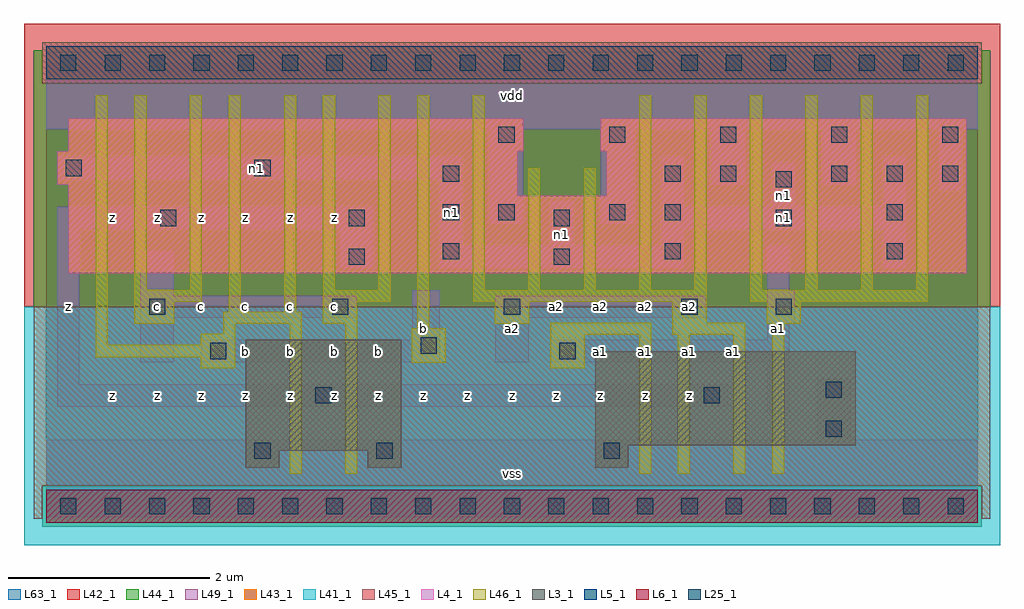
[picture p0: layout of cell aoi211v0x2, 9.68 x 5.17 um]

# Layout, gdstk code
import gdstk
lib = gdstk.Library(unit=1e-6, precision=1e-09)
def R(c, l, rs):  # rectangles x0, y0, x1, y1
    for r in rs: c.add(gdstk.rectangle(r[:2], r[2:], *l))
def A(c, l, x, y, w, h, nx, ny, dx, dy):  # array of equal rectangles
    R(c, l, [(x+i*dx, y+j*dy, x+i*dx+w, y+j*dy+h) for i in range(nx) for j in range(ny)])
L3_1 = (3, 1)
L4_1 = (4, 1)
L5_1 = (5, 1)
L6_1 = (6, 1)
L25_1 = (25, 1)
L41_1 = (41, 1)
L42_1 = (42, 1)
L43_1 = (43, 1)
L44_1 = (44, 1)
L45_1 = (45, 1)
L46_1 = (46, 1)
L49_1 = (49, 1)
L63_1 = (63, 1)

aoi211v0x2 = lib.new_cell('aoi211v0x2')
R(aoi211v0x2, L3_1, [(1.98,0.385,2.31,0.55), (3.19,0.385,3.52,0.55), (5.445,0.385,5.775,0.605), (1.98,0.55,3.52,1.65), (5.445,0.605,8.03,1.54)])
R(aoi211v0x2, L4_1, [(0.22,2.31,9.13,3.08), (0.22,3.08,4.675,3.19), (5.555,3.08,9.13,3.52), (0.11,3.19,4.675,3.52), (0.22,3.52,4.73,3.85), (5.5,3.52,9.13,3.85)])
R(aoi211v0x2, L5_1, [(0,4.235,9.24,4.565)])
R(aoi211v0x2, L6_1, [(0,-0.165,9.24,0.165)])
A(aoi211v0x2, L25_1, 0.14, -0.08, 0.16, 0.16, 21, 2, 0.44, 4.4)
A(aoi211v0x2, L25_1, 3.935, 2.45, 0.16, 0.16, 3, 1, 2.2, 0)
A(aoi211v0x2, L25_1, 7.785, 3.22, 0.16, 0.16, 3, 1, 0.55, 0)
A(aoi211v0x2, L25_1, 4.485, 3.605, 0.16, 0.16, 5, 1, 1.1, 0)
R(aoi211v0x2, L25_1, [(2.065,0.47,2.225,0.63), (3.275,0.47,3.435,0.63), (5.53,0.47,5.69,0.63), (7.73,0.69,7.89,0.85), (2.67,1.02,2.83,1.18), (6.52,1.02,6.68,1.18), (7.73,1.075,7.89,1.235), (1.625,1.46,1.785,1.62), (5.09,1.46,5.25,1.62), (3.715,1.515,3.875,1.675), (1.02,1.9,1.18,2.06), (2.835,1.9,2.995,2.06), (4.54,1.9,4.7,2.06), (6.3,1.9,6.46,2.06), (7.235,1.9,7.395,2.06), (3,2.395,3.16,2.555), (5.035,2.395,5.195,2.555), (1.13,2.78,1.29,2.94), (3,2.78,3.16,2.94), (5.035,2.78,5.195,2.94), (7.235,2.78,7.395,2.94), (3.935,2.835,4.095,2.995), (4.485,2.835,4.645,2.995), (5.585,2.835,5.745,2.995), (6.135,2.835,6.295,2.995), (8.335,2.835,8.495,2.995), (7.235,3.165,7.395,3.325), (3.935,3.22,4.095,3.38), (6.135,3.22,6.295,3.38), (6.685,3.22,6.845,3.38), (0.195,3.275,0.355,3.435), (2.065,3.275,2.225,3.435)])
R(aoi211v0x2, L41_1, [(-0.22,-0.385,9.46,1.98)])
R(aoi211v0x2, L42_1, [(-0.22,1.98,9.46,4.785)])
R(aoi211v0x2, L43_1, [(0,-0.165,9.24,0.165), (1.98,0.385,2.31,0.55), (3.19,0.385,3.52,0.55), (5.445,0.385,5.775,0.605), (1.98,0.55,3.52,1.65), (5.445,0.605,8.03,1.54), (0.22,2.31,9.13,3.08), (0.22,3.08,4.675,3.19), (5.555,3.08,9.13,3.52), (0.11,3.19,4.675,3.52), (0.22,3.52,4.73,3.85), (5.5,3.52,9.13,3.85), (0,4.235,9.24,4.565)])
R(aoi211v0x2, L44_1, [(-0.04,-0.205,9.28,0.205), (-0.125,1.98,9.365,4.195), (-0.125,4.195,-0.04,4.525), (9.28,4.195,9.365,4.525)])
R(aoi211v0x2, L45_1, [(-0.125,-0.125,-0.04,0.205), (9.28,-0.125,9.365,0.205), (-0.125,0.205,9.365,1.98), (-0.04,4.195,9.28,4.605)])
A(aoi211v0x2, L46_1, 5.88, 2.15, 0.12, 1.925, 6, 1, 0.55, 0)
R(aoi211v0x2, L46_1, [(2.415,0.325,2.535,1.81), (2.965,0.325,3.085,1.81), (5.88,0.325,6,1.7), (6.265,0.325,6.385,1.7), (6.815,0.325,6.935,1.7), (7.2,0.325,7.32,1.81), (1.535,1.37,1.875,1.48), (5,1.37,5.34,1.7), (3.625,1.425,3.965,1.765), (0.49,1.48,1.875,1.6), (0.49,1.6,0.61,4.075), (1.535,1.6,1.875,1.71), (5,1.7,6,1.82), (6.21,1.7,6.935,1.82), (1.755,1.71,1.875,1.81), (3.68,1.765,3.8,4.075), (0.875,1.81,1.27,2.03), (1.755,1.81,2.535,1.93), (2.745,1.81,3.085,2.03), (4.45,1.81,4.79,2.03), (7.145,1.81,7.485,2.03), (6.21,1.82,6.55,2.03), (1.81,1.93,1.93,4.075), (2.36,1.93,2.48,4.075), (0.875,2.03,1.545,2.15), (2.745,2.03,3.415,2.15), (4.23,2.03,6.55,2.15), (6.98,2.03,8.75,2.15), (0.875,2.15,0.995,4.075), (1.425,2.15,1.545,4.075), (2.745,2.15,2.865,4.075), (3.295,2.15,3.415,4.075), (4.23,2.15,4.35,4.075), (4.78,2.15,4.9,3.36), (5.33,2.15,5.45,3.36)])
R(aoi211v0x2, L49_1, [(0,-0.11,9.24,0.66), (7.645,0.66,7.975,1.265), (7.15,0.935,7.37,1.43), (0.11,0.99,6.765,1.21), (0.11,1.21,0.33,2.75), (0.935,1.43,1.265,1.87), (1.54,1.43,3.905,1.65), (4.455,1.43,4.785,1.87), (5.005,1.43,7.37,1.65), (3.63,1.65,3.905,2.145), (7.15,1.65,7.37,1.815), (7.15,1.815,7.425,2.145), (0.935,1.87,3.08,2.09), (4.455,1.87,6.545,2.09), (0.935,2.09,1.265,2.53), (7.15,2.145,7.37,2.585), (2.915,2.365,3.245,2.75), (3.905,2.365,6.325,2.585), (8.305,2.365,8.525,2.75), (3.905,2.585,4.125,3.245), (5.005,2.585,5.225,3.025), (6.105,2.585,6.325,2.75), (0.11,2.75,3.245,2.97), (6.105,2.75,8.525,2.97), (4.4,2.805,4.73,3.74), (5.5,2.805,5.83,3.74), (6.105,2.97,6.325,3.465), (7.205,2.97,7.425,3.41), (8.305,2.97,8.525,3.465), (8.855,3.135,9.075,3.74), (6.6,3.19,6.93,3.74), (7.7,3.19,8.03,3.74), (0.11,3.245,4.125,3.465), (0,3.74,9.24,4.51)])
R(aoi211v0x2, L63_1, [(0,0,9.24,4.4)])
aoi211v0x2.add(gdstk.Label('z', (1.1,1.1), layer=49, texttype=1))
aoi211v0x2.add(gdstk.Label('z', (0.66,1.1), layer=49, texttype=1))
aoi211v0x2.add(gdstk.Label('c', (1.1,1.98), layer=49, texttype=1))
aoi211v0x2.add(gdstk.Label('z', (0.22,1.98), layer=49, texttype=1))
aoi211v0x2.add(gdstk.Label('z', (0.66,2.86), layer=49, texttype=1))
aoi211v0x2.add(gdstk.Label('z', (1.1,2.86), layer=49, texttype=1))
aoi211v0x2.add(gdstk.Label('z', (1.54,1.1), layer=49, texttype=1))
aoi211v0x2.add(gdstk.Label('z', (2.86,1.1), layer=49, texttype=1))
aoi211v0x2.add(gdstk.Label('z', (2.42,1.1), layer=49, texttype=1))
aoi211v0x2.add(gdstk.Label('z', (1.98,1.1), layer=49, texttype=1))
aoi211v0x2.add(gdstk.Label('b', (1.98,1.54), layer=49, texttype=1))
aoi211v0x2.add(gdstk.Label('b', (2.42,1.54), layer=49, texttype=1))
aoi211v0x2.add(gdstk.Label('b', (2.86,1.54), layer=49, texttype=1))
aoi211v0x2.add(gdstk.Label('c', (1.54,1.98), layer=49, texttype=1))
aoi211v0x2.add(gdstk.Label('c', (2.86,1.98), layer=49, texttype=1))
aoi211v0x2.add(gdstk.Label('c', (2.42,1.98), layer=49, texttype=1))
aoi211v0x2.add(gdstk.Label('c', (1.98,1.98), layer=49, texttype=1))
aoi211v0x2.add(gdstk.Label('z', (1.54,2.86), layer=49, texttype=1))
aoi211v0x2.add(gdstk.Label('z', (1.98,2.86), layer=49, texttype=1))
aoi211v0x2.add(gdstk.Label('z', (2.42,2.86), layer=49, texttype=1))
aoi211v0x2.add(gdstk.Label('z', (2.86,2.86), layer=49, texttype=1))
aoi211v0x2.add(gdstk.Label('z', (4.18,1.1), layer=49, texttype=1))
aoi211v0x2.add(gdstk.Label('z', (3.74,1.1), layer=49, texttype=1))
aoi211v0x2.add(gdstk.Label('z', (3.3,1.1), layer=49, texttype=1))
aoi211v0x2.add(gdstk.Label('b', (3.3,1.54), layer=49, texttype=1))
aoi211v0x2.add(gdstk.Label('b', (3.74,1.76), layer=49, texttype=1))
aoi211v0x2.add(gdstk.Label('n1', (4.015,2.915), layer=49, texttype=1))
aoi211v0x2.add(gdstk.Label('n1', (2.09,3.355), layer=49, texttype=1))
aoi211v0x2.add(gdstk.Label('vss', (4.62,0.33), layer=49, texttype=1))
aoi211v0x2.add(gdstk.Label('z', (4.62,1.1), layer=49, texttype=1))
aoi211v0x2.add(gdstk.Label('z', (5.94,1.1), layer=49, texttype=1))
aoi211v0x2.add(gdstk.Label('z', (5.5,1.1), layer=49, texttype=1))
aoi211v0x2.add(gdstk.Label('z', (5.06,1.1), layer=49, texttype=1))
aoi211v0x2.add(gdstk.Label('a1', (5.5,1.54), layer=49, texttype=1))
aoi211v0x2.add(gdstk.Label('a1', (5.94,1.54), layer=49, texttype=1))
aoi211v0x2.add(gdstk.Label('a2', (4.62,1.76), layer=49, texttype=1))
aoi211v0x2.add(gdstk.Label('a2', (5.94,1.98), layer=49, texttype=1))
aoi211v0x2.add(gdstk.Label('a2', (5.5,1.98), layer=49, texttype=1))
aoi211v0x2.add(gdstk.Label('a2', (5.06,1.98), layer=49, texttype=1))
aoi211v0x2.add(gdstk.Label('n1', (5.115,2.695), layer=49, texttype=1))
aoi211v0x2.add(gdstk.Label('vdd', (4.62,4.07), layer=49, texttype=1))
aoi211v0x2.add(gdstk.Label('z', (6.38,1.1), layer=49, texttype=1))
aoi211v0x2.add(gdstk.Label('a1', (6.82,1.54), layer=49, texttype=1))
aoi211v0x2.add(gdstk.Label('a1', (6.38,1.54), layer=49, texttype=1))
aoi211v0x2.add(gdstk.Label('a2', (6.38,1.98), layer=49, texttype=1))
aoi211v0x2.add(gdstk.Label('a1', (7.26,1.76), layer=49, texttype=1))
aoi211v0x2.add(gdstk.Label('n1', (7.315,3.08), layer=49, texttype=1))
aoi211v0x2.add(gdstk.Label('n1', (7.315,2.86), layer=49, texttype=1))

lib.write_gds('aoi211v0x2.gds')
